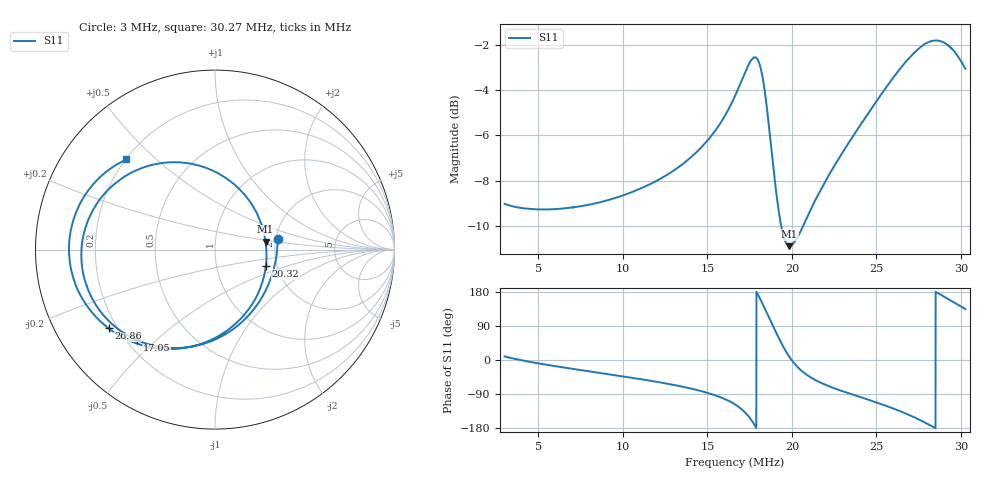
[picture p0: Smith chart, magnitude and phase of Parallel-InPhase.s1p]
# HZ S RI R 50
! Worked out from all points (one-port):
!   2727 points, 3 MHz to 30.27 MHz, reference 50 ohm
!   lowest |S11| = -10.9 dB at 19.85 MHz (marker M1), VSWR 1.80, Z = 88.7 + j8.38 ohm
!   |S11| at or under -10 dB: 19.37 MHz to 20.67 MHz (1.308 MHz wide, 6.53 % of centre)
!   S11 on the Smith chart (normalised r, x): 3 MHz: 2.05, +0.27; 17.05 MHz: 0.24, -0.44; 20.32 MHz: 1.75, -0.35; 26.86 MHz: 0.17, -0.32; 30.27 MHz: 0.20, +0.41
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3000000  0.3487 0.0576
6411364  0.3261 -0.1133
9822728  0.2732 -0.2454
1.323409e7  0.161 -0.3932
1.532493e7  -0.00914 -0.5052
1.604522e7  -0.1267 -0.5402
1.663545e7  -0.2796 -0.5456
1.704562e7  -0.4334 -0.5045
1.74958e7  -0.6407 -0.342
1.790596e7  -0.7439 0.000651
1.817607e7  -0.6433 0.2775
1.835614e7  -0.4928 0.4138
1.852621e7  -0.3209 0.4785
1.877631e7  -0.0811 0.4658
1.911644e7  0.135 0.3377
1.943657e7  0.2358 0.1967
1.984674e7  0.2817 0.0434
2.004682e7  0.2872 -0.0181
2.031692e7  0.2835 -0.0902
2.157743e7  0.2018 -0.312
2.345818e7  0.00664 -0.4888
2.541896e7  -0.2983 -0.5526
2.685954e7  -0.5932 -0.4385
2.686954e7  -0.5951 -0.4367
2.787995e7  -0.7724 -0.2067
2.863025e7  -0.8118 0.0448
2.935054e7  -0.7318 0.2909
3.02709e7  -0.4933 0.5028
